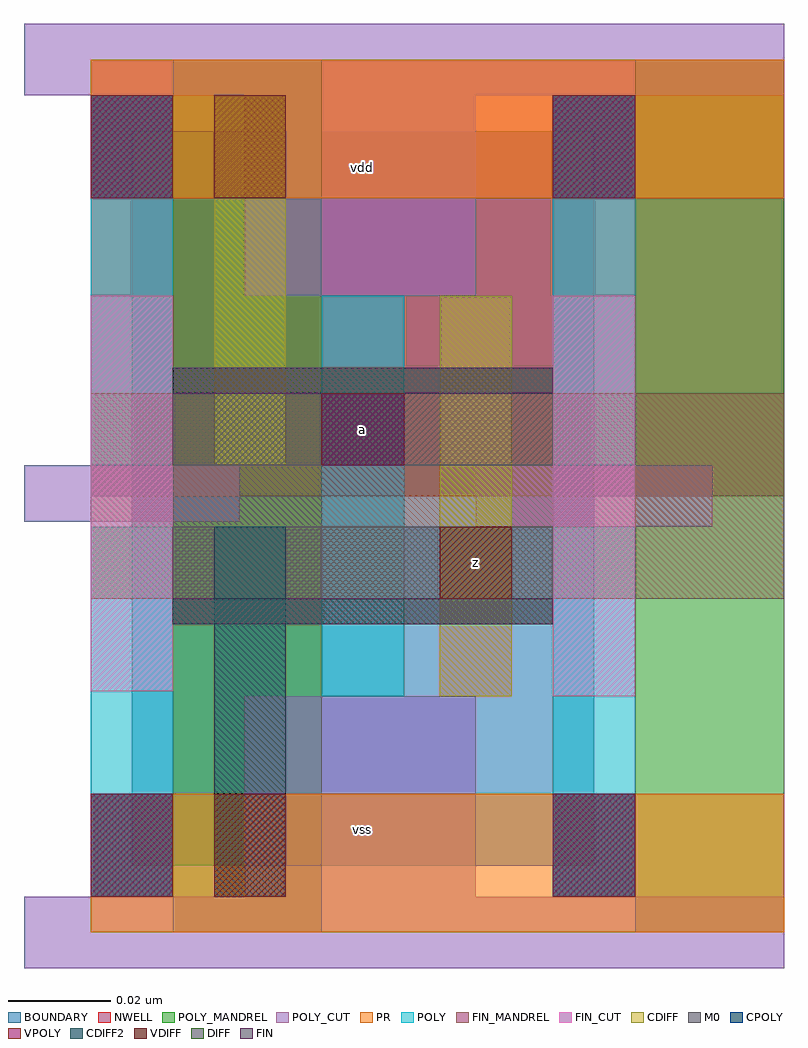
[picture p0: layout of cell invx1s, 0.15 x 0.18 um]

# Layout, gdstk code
import gdstk
lib = gdstk.Library(unit=1e-6, precision=1e-09)
def R(c, l, rs):  # rectangles x0, y0, x1, y1
    for r in rs: c.add(gdstk.rectangle(r[:2], r[2:], *l))
BOUNDARY = (1, 0)
NWELL = (5, 1)
DIFF = (7, 7)
FIN = (7, 8)
FIN_MANDREL = (7, 10)
FIN_CUT = (7, 50)
POLY = (9, 7)
POLY_MANDREL = (9, 10)
POLY_CUT = (9, 50)
CPOLY = (9, 100)
VPOLY = (9, 135)
VDIFF = (10, 0)
CDIFF = (10, 1)
CDIFF2 = (10, 2)
M0 = (30, 0)
PR = (30, 1)

invx1s = lib.new_cell('invx1s')
R(invx1s, BOUNDARY, [(-0.008,0.013,0.082,0.156)])
R(invx1s, NWELL, [(-0.016,0.085,0.119,0.17)])
R(invx1s, DIFF, [(0,0.06,0.074,0.065), (0,0.105,0.074,0.11)])
R(invx1s, FIN, [(0,0.06,0.074,0.065), (0,0.105,0.074,0.11)])
R(invx1s, FIN_MANDREL, [(-0.016,0.065,0.119,0.105)])
R(invx1s, FIN_CUT, [(0.074,0.046,0.09,0.124), (-0.016,0.047,0,0.124)])
R(invx1s, POLY, [(-0.016,0.007,0,0.079), (0.074,0.007,0.09,0.079), (0.029,0.046,0.045,0.124), (-0.016,0.091,0,0.163), (0.074,0.091,0.09,0.163)])
R(invx1s, POLY_MANDREL, [(0,0,0.029,0.17), (0.09,0,0.119,0.17)])
R(invx1s, POLY_CUT, [(-0.029,-0.007,0.119,0.007), (0.014,0,0.059,0.046), (0.059,0.079,0.105,0.091), (-0.029,0.08,0.013,0.091), (0.014,0.124,0.059,0.17), (-0.029,0.163,0.119,0.177)])
R(invx1s, CPOLY, [(-0.016,0.007,0,0.027), (0.074,0.007,0.09,0.027), (0.029,0.091,0.045,0.105), (-0.016,0.143,0,0.163), (0.074,0.143,0.09,0.163)])
R(invx1s, VPOLY, [(-0.016,0.007,0,0.027), (0.074,0.007,0.09,0.027), (0.029,0.091,0.045,0.105), (-0.016,0.143,0,0.163), (0.074,0.143,0.09,0.163)])
R(invx1s, VDIFF, [(0.008,0.007,0.022,0.027), (0.052,0.065,0.066,0.079), (0.008,0.143,0.022,0.163)])
R(invx1s, CDIFF, [(0.052,0.046,0.066,0.124), (0.008,0.091,0.022,0.163)])
R(invx1s, CDIFF2, [(0.008,0.007,0.022,0.079)])
R(invx1s, M0, [(0,0.065,0.074,0.079), (0,0.091,0.074,0.105)])
R(invx1s, PR, [(-0.016,0,0.119,0.027), (-0.016,0.143,0.119,0.17)])
invx1s.add(gdstk.Label('vss', (0.037,0.02), layer=30, texttype=2))
invx1s.add(gdstk.Label('vdd', (0.037,0.149), layer=30, texttype=2))
invx1s.add(gdstk.Label('a', (0.037,0.098), layer=30, texttype=12))
invx1s.add(gdstk.Label('z', (0.059,0.072), layer=30, texttype=12))
invx1s.add(gdstk.Label('vdd', (0.037,0.149), layer=30, texttype=12))
invx1s.add(gdstk.Label('vss', (0.037,0.02), layer=30, texttype=12))

lib.write_gds('invx1s.gds')
